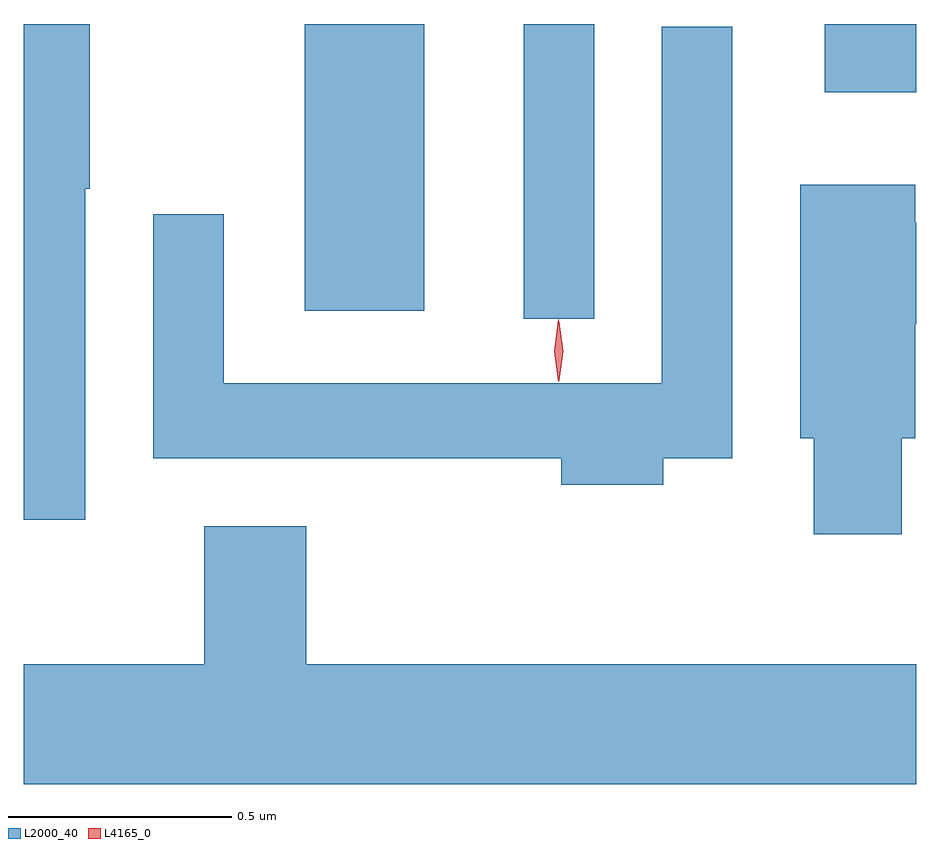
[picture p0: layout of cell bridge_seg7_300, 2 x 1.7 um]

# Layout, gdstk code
import gdstk
lib = gdstk.Library(unit=1e-6, precision=1e-09)
def R(c, l, rs):  # rectangles x0, y0, x1, y1
    for r in rs: c.add(gdstk.rectangle(r[:2], r[2:], *l))
def P(c, l, *ps):  # polygons
    for p in ps: c.add(gdstk.Polygon(p, *l))
L2000_40 = (2000, 40)
L4165_0 = (4165, 0)

bridge_seg7_300 = lib.new_cell('bridge_seg7_300')
R(bridge_seg7_300, L2000_40, [(1339.816,1784.178,1339.974,1784.839), (1339.326,1784.196,1339.594,1784.839), (1340.491,1784.686,1340.696,1784.839)])
P(bridge_seg7_300, L2000_40, [(1338.834,1784.47),(1338.844,1784.47),(1338.844,1784.839),(1338.696,1784.839),(1338.696,1783.728),(1338.834,1783.728)],
  [(1340.129,1783.866),(1340.284,1783.866),(1340.284,1784.833),(1340.126,1784.833),(1340.126,1784.034),(1339.144,1784.034),(1339.144,1784.413),(1338.986,1784.413),(1338.986,1783.866),(1339.901,1783.866),(1339.901,1783.806),(1340.129,1783.806)],
  [(1340.664,1783.911),(1340.694,1783.911),(1340.694,1784.166),(1340.696,1784.166),(1340.696,1784.394),(1340.694,1784.394),(1340.694,1784.479),(1340.436,1784.479),(1340.436,1783.911),(1340.466,1783.911),(1340.466,1783.696),(1340.664,1783.696)],
  [(1340.696,1783.404),(1339.329,1783.404),(1339.329,1783.714),(1339.101,1783.714),(1339.101,1783.404),(1338.696,1783.404),(1338.696,1783.136),(1340.696,1783.136)])
P(bridge_seg7_300, L4165_0, [(1339.895,1784.037),(1339.894,1784.038),(1339.885,1784.106),(1339.894,1784.176),(1339.895,1784.176),(1339.895,1784.176),(1339.905,1784.106),(1339.895,1784.038)],
  [(1339.895,1784.04),(1339.885,1784.106),(1339.894,1784.172),(1339.895,1784.173),(1339.896,1784.172),(1339.905,1784.106),(1339.896,1784.04),(1339.896,1784.04)])

lib.write_gds('bridge_seg7_300.gds')
